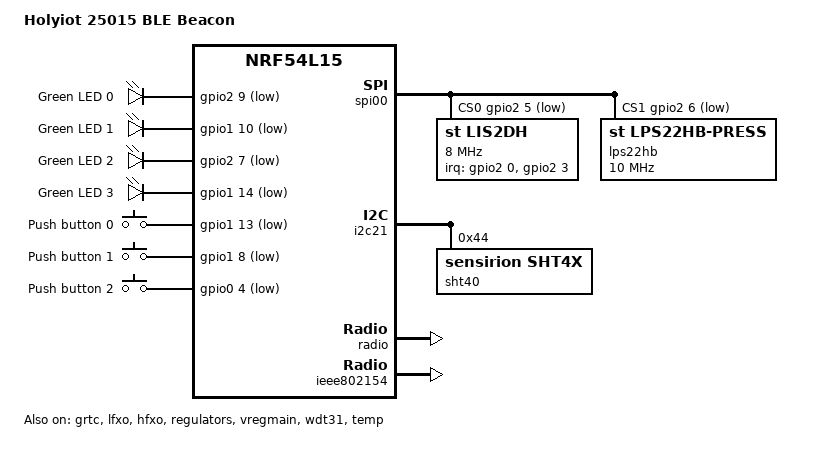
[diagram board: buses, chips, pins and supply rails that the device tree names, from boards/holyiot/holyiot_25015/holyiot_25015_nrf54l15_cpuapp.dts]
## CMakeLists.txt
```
#
# Copyright (c) 2021 Nordic Semiconductor ASA
#
# SPDX-License-Identifier: LicenseRef-Nordic-5-Clause
#

cmake_minimum_required(VERSION 3.20.0)

find_package(Zephyr HINTS $ENV{ZEPHYR_BASE})

project(micro_matter_button)

# Enable GNU STD support.
include(${ZEPHYR_CONNECTEDHOMEIP_MODULE_DIR}/config/nrfconnect/app/enable-gnu-std.cmake)

# NORDIC SDK APP START

# Include all source files that are located in the Matter common directory.
include(${ZEPHYR_NRF_MODULE_DIR}/samples/matter/common/cmake/source_common.cmake)

# Include Data Model utils
include(${ZEPHYR_NRF_MODULE_DIR}/samples/matter/common/cmake/data_model.cmake)

include(${ZEPHYR_NRF_MODULE_DIR}/samples/matter/common/cmake/zap_helpers.cmake)
ncs_get_zap_parent_dir(ZAP_PARENT_DIR)

target_include_directories(app PRIVATE
  src
  ${ZAP_PARENT_DIR}
)

target_compile_options(app PRIVATE -Wno-deprecated-declarations)

target_sources(app PRIVATE
  src/app_task.cpp
  src/light_switch.cpp
  src/main.cpp
  src/shell_commands.cpp
  ${ZEPHYR_NRF_MODULE_DIR}/samples/matter/common/src/binding/binding_handler.cpp
)

ncs_configure_data_model()
# NORDIC SDK APP END
```

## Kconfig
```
#
# Copyright (c) 2022 Nordic Semiconductor
#
# SPDX-License-Identifier: LicenseRef-Nordic-5-Clause
#
mainmenu "Matter nRF Connect Light Switch Example Application"

config STATE_LEDS
	bool "Use LEDs to indicate the device state"
	default y
	help
	  Use LEDs to render the current state of the device such as the progress of commissioning of
	  the device into a network or the factory reset initiation. Note that setting this option to
	  'n' does not disable the LED indicating the state of the simulated bolt.

# Sample configuration used for Thread networking
if OPENTHREAD

choice OPENTHREAD_NORDIC_LIBRARY_CONFIGURATION
	default OPENTHREAD_NORDIC_LIBRARY_MTD
endchoice

choice OPENTHREAD_DEVICE_TYPE
	default OPENTHREAD_MTD
endchoice

config CHIP_ENABLE_ICD_SUPPORT
	default y

# Reduce Thread TX output power to 0 dBm for SED device
config OPENTHREAD_DEFAULT_TX_POWER
	default 0

endif # OPENTHREAD

if BOARD_NRF7002DK_NRF5340_CPUAPP || SHIELD_NRF7002EB2

config CHIP_WIFI
	default y
	select DEPRECATED if SOC_SERIES_NRF53X

config NRF_WIFI_LOW_POWER
	default y

endif # BOARD_NRF7002DK_NRF5340_CPUAPP || SHIELD_NRF7002EB2

# Enable Read Client functionality for all build configurations.
config CHIP_ENABLE_READ_CLIENT
	default y

choice MATTER_BUTTON_OPERATING_MODE
	prompt "Device operating mode"
	default MATTER_BUTTON_MODE_1

config MATTER_BUTTON_MODE_1
	bool "Dimmable switch (short-press toggle, double-tap accel dimming, long-press brightness cycle)"

config MATTER_BUTTON_MODE_2
	bool "Generic switch (short-press and long-press events on endpoint 2)"

endchoice

source "$(ZEPHYR_CONNECTEDHOMEIP_MODULE_DIR)/config/nrfconnect/chip-module/Kconfig.features"
source "$(ZEPHYR_CONNECTEDHOMEIP_MODULE_DIR)/config/nrfconnect/chip-module/Kconfig.defaults"
source "$(ZEPHYR_NRF_MODULE_DIR)/samples/matter/common/src/Kconfig"
source "Kconfig.zephyr"
```

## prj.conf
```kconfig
#
# Copyright (c) 2021 Nordic Semiconductor ASA
#
# SPDX-License-Identifier: LicenseRef-Nordic-5-Clause
#

# Enable CHIP
CONFIG_CHIP=y
CONFIG_CHIP_PROJECT_CONFIG="src/chip_project_config.h"
CONFIG_CHIP_DEVICE_PRODUCT_NAME="Matter Light Switch"

# Configure ZAP file name
CONFIG_NCS_SAMPLE_MATTER_ZAP_FILE_PATH="${APPLICATION_CONFIG_DIR}/src/default_zap/light_switch.zap"

# 32772 == 0x8004 (example light-switch-app)
CONFIG_CHIP_DEVICE_PRODUCT_ID=32772
CONFIG_STD_CPP17=y

# Enable Matter pairing automatically on application start.
CONFIG_CHIP_ENABLE_PAIRING_AUTOSTART=y

# Enable Matter extended announcement and increase duration to 1 hour.
CONFIG_CHIP_BLE_EXT_ADVERTISING=y
CONFIG_CHIP_BLE_ADVERTISING_DURATION=60

# Add support for LEDs and buttons on Nordic development kits
CONFIG_DK_LIBRARY=y

# Try to disable unused RAM blocks to reduce power consumption
CONFIG_RAM_POWER_DOWN_LIBRARY=y

# Bluetooth Low Energy configuration
CONFIG_BT_DEVICE_NAME="MatterSwitch"

# Suspend devices when the CPU goes into sleep
CONFIG_PM_DEVICE=y

# Enable system reset on fatal error
CONFIG_RESET_ON_FATAL_ERROR=y

# Disable all debug features
CONFIG_USE_SEGGER_RTT=n
CONFIG_SHELL=n
CONFIG_OPENTHREAD_SHELL=n
CONFIG_CONSOLE=n
CONFIG_UART_CONSOLE=n
CONFIG_SERIAL=n
CONFIG_LOG=n
CONFIG_LOG_MODE_MINIMAL=n
CONFIG_ASSERT_VERBOSE=n
CONFIG_ASSERT_NO_FILE_INFO=y
CONFIG_PRINTK=n
CONFIG_PRINTK_SYNC=n
CONFIG_THREAD_NAME=n
CONFIG_BOOT_BANNER=n

# Enable Factory Data feature
CONFIG_CHIP_FACTORY_DATA=y
CONFIG_CHIP_FACTORY_DATA_BUILD=y

# Enable Watchdog
CONFIG_NCS_SAMPLE_MATTER_WATCHDOG=y

# Enable LTO to decrease the flash usage.
CONFIG_LTO=y
CONFIG_ISR_TABLES_LOCAL_DECLARATION=y

# Enable Factory Data feature
CONFIG_CHIP_FACTORY_DATA=n
CONFIG_CHIP_FACTORY_DATA_BUILD=n

CONFIG_CHIP_OTA_REQUESTOR=n
CONFIG_BOOTLOADER_MCUBOOT=n
CONFIG_CHIP_BOOTLOADER_MCUBOOT=n
CONFIG_CHIP_BOOTLOADER_NONE=y

CONFIG_CHIP_NFC_ONBOARDING_PAYLOAD=n


# Persistent Subscriptions
CONFIG_CHIP_PERSISTENT_SUBSCRIPTIONS=y

# Switch off LEDS
CONFIG_NCS_SAMPLE_MATTER_LEDS=n

# Configure Power Management
CONFIG_PM_DEVICE=y
CONFIG_RAM_POWER_DOWN_LIBRARY=y
CONFIG_POWEROFF=y

# Settings for ICD with LIT
CONFIG_OPENTHREAD_MTD=y
CONFIG_OPENTHREAD_NORDIC_LIBRARY_MTD=y

CONFIG_CHIP_ENABLE_ICD_SUPPORT=y
CONFIG_CHIP_ICD_LIT_SUPPORT=y

CONFIG_CHIP_ICD_IDLE_MODE_DURATION=900
CONFIG_CHIP_ICD_SLOW_POLL_INTERVAL=300000
CONFIG_CHIP_ICD_ACTIVE_MODE_DURATION=500
CONFIG_CHIP_ICD_ACTIVE_MODE_THRESHOLD=10000
CONFIG_CHIP_ICD_FAST_POLLING_INTERVAL=1000

CONFIG_CHIP_ICD_CLIENTS_PER_FABRIC=2

CONFIG_SPI=y
CONFIG_SENSOR=y
CONFIG_LIS2DH=y
CONFIG_LIS2DH_TRIGGER_GLOBAL_THREAD=y
```

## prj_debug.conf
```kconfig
#
# Copyright (c) 2021 Nordic Semiconductor ASA
#
# SPDX-License-Identifier: LicenseRef-Nordic-5-Clause
#

# Enable CHIP
CONFIG_CHIP=y
CONFIG_CHIP_PROJECT_CONFIG="src/chip_project_config.h"
CONFIG_CHIP_DEVICE_PRODUCT_NAME="Matter Light Switch"

# Configure ZAP file name
CONFIG_NCS_SAMPLE_MATTER_ZAP_FILE_PATH="${APPLICATION_CONFIG_DIR}/src/default_zap/light_switch.zap"

# 32772 == 0x8004 (example light-switch-app)
CONFIG_CHIP_DEVICE_PRODUCT_ID=32772
CONFIG_STD_CPP17=y

# Enable Matter pairing automatically on application start.
CONFIG_CHIP_ENABLE_PAIRING_AUTOSTART=y

# Enable Matter extended announcement and increase duration to 1 hour.
CONFIG_CHIP_BLE_EXT_ADVERTISING=y
CONFIG_CHIP_BLE_ADVERTISING_DURATION=60

# Add support for LEDs and buttons on Nordic development kits
CONFIG_DK_LIBRARY=y

# Bluetooth Low Energy configuration
CONFIG_BT_DEVICE_NAME="MatterSwitch"

# Suspend devices when the CPU goes into sleep
CONFIG_PM_DEVICE=y

# Other settings
CONFIG_THREAD_NAME=y
CONFIG_MPU_STACK_GUARD=y
CONFIG_RESET_ON_FATAL_ERROR=n
CONFIG_CHIP_LIB_SHELL=y
CONFIG_NCS_SAMPLE_MATTER_TEST_SHELL=y

# Reduce application size
CONFIG_USE_SEGGER_RTT=n

# Enable Factory Data feature
CONFIG_CHIP_FACTORY_DATA=n
CONFIG_CHIP_FACTORY_DATA_BUILD=n

CONFIG_CHIP_OTA_REQUESTOR=n
CONFIG_BOOTLOADER_MCUBOOT=n
CONFIG_CHIP_BOOTLOADER_MCUBOOT=n
CONFIG_CHIP_BOOTLOADER_NONE=y

CONFIG_CHIP_NFC_ONBOARDING_PAYLOAD=n

# Persistent Subscriptions
CONFIG_CHIP_PERSISTENT_SUBSCRIPTIONS=y

CONFIG_SPI=y
CONFIG_SENSOR=y
CONFIG_LIS2DH=y
CONFIG_LIS2DH_TRIGGER_GLOBAL_THREAD=y
```

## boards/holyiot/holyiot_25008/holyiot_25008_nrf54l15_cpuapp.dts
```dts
/dts-v1/;
#include <nordic/nrf54l15_cpuapp.dtsi>
#include "holyiot_25008-pinctrl.dtsi"

/ {
	model = "Holyiot 25008 BLE Beacon";
	compatible = "holyiot,holyiot-25008-cpuapp";

	chosen {
		zephyr,code-partition = &slot0_partition;
		zephyr,sram = &cpuapp_sram;
		zephyr,flash = &cpuapp_rram;
		zephyr,flash-controller = &rram_controller;
	};
};

&grtc {
	owned-channels = <0 1 2 3 4 5 6 7 8 9 10 11>;
	/* Channels 7-11 reserved for Zero Latency IRQs, 3-4 for FLPR */
	child-owned-channels = <3 4 7 8 9 10 11>;
	status = "okay";
};

&cpuapp_sram {
	status = "okay";
};

/ {
	leds {
		compatible = "gpio-leds";

		led0: led_0 {
			gpios = <&gpio2 9 GPIO_ACTIVE_LOW>;
			label = "Green LED 0";
		};

		led1: led_1 {
			gpios = <&gpio1 10 GPIO_ACTIVE_LOW>;
			label = "Green LED 1";
		};

		led2: led_2 {
			gpios = <&gpio2 7 GPIO_ACTIVE_LOW>;
			label = "Green LED 2";
		};

		led3: led_3 {
			gpios = <&gpio1 14 GPIO_ACTIVE_LOW>;
			label = "Green LED 3";
		};
	};

	buttons {
		compatible = "gpio-keys";

		button0: button_0 {
			gpios = <&gpio1 9 (GPIO_PULL_UP | GPIO_ACTIVE_LOW)>;
			label = "Push button 0";
			zephyr,code = <INPUT_KEY_0>;
		};

		button1: button_1 {
			gpios = <&gpio1 13 (GPIO_PULL_UP | GPIO_ACTIVE_LOW)>;
			label = "Push button 1";
			zephyr,code = <INPUT_KEY_1>;
		};

		button2: button_2 {
			gpios = <&gpio1 8 (GPIO_PULL_UP | GPIO_ACTIVE_LOW)>;
			label = "Push button 2";
			zephyr,code = <INPUT_KEY_2>;
		};

		button3: button_3 {
			gpios = <&gpio0 4 (GPIO_PULL_UP | GPIO_ACTIVE_LOW)>;
			label = "Push button 3";
			zephyr,code = <INPUT_KEY_3>;
		};
	};

	aliases {
		led0 = &led0;
		led1 = &led1;
		led2 = &led2;
		led3 = &led3;
		sw0 = &button0;
		sw1 = &button1;
		sw2 = &button2;
		sw3 = &button3;
		watchdog0 = &wdt31;
	};
};

/{
    aliases {
        accel0 = &lis2dh;
    };
};

&pinctrl {
	/omit-if-no-ref/ spi00_default: spi00_default {
		group1 {
			psels = <NRF_PSEL(SPIM_SCK, 2, 1)>,
				<NRF_PSEL(SPIM_MOSI, 2, 2)>,
				<NRF_PSEL(SPIM_MISO, 2, 4)>;
		};
	};

	/omit-if-no-ref/ spi00_sleep: spi00_sleep {
		group1 {
			psels = <NRF_PSEL(SPIM_SCK, 2, 1)>,
				<NRF_PSEL(SPIM_MOSI, 2, 2)>,
				<NRF_PSEL(SPIM_MISO, 2, 4)>;
			low-power-enable;
		};
	};
};

&spi00 {
	status = "okay";
	cs-gpios = <&gpio2 5 GPIO_ACTIVE_LOW>;
	pinctrl-0 = <&spi00_default>;
	pinctrl-1 = <&spi00_sleep>;
	pinctrl-names = "default", "sleep";

	lis2dh: lis2dh@0 {
		compatible = "st,lis2dh", "st,lis2dh12";
		reg = <0>;
		spi-max-frequency = <8000000>;
		irq-gpios = <&gpio2 0 GPIO_ACTIVE_HIGH>, <&gpio2 3 GPIO_ACTIVE_HIGH>;
		status = "okay";
	};
};

&cpuapp_sram {
	status = "okay";
};

&lfxo {
	load-capacitors = "internal";
	load-capacitance-femtofarad = <16000>;
	status = "okay";
};

&hfxo {
	load-capacitors = "internal";
	load-capacitance-femtofarad = <15000>;
	status = "okay";
};

&regulators {
	status = "okay";
};

&vregmain {
	status = "okay";
	regulator-initial-mode = <NRF5X_REG_MODE_DCDC>;
};

&gpio0 {
	status = "okay";
};

&gpio1 {
	status = "okay";
};

&gpio2 {
	status = "okay";
};

&gpiote20 {
	status = "okay";
};

&gpiote30 {
	status = "okay";
};

&wdt31 {
	status = "okay";
};

&radio {
	status = "okay";
};

&ieee802154 {
	status = "okay";
};

&temp {
	status = "okay";
};

&clock {
	status = "okay";
};

#include <nordic/nrf54l15_partition.dtsi>
```

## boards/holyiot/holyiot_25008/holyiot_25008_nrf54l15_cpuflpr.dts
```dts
/dts-v1/;
#include <nordic/nrf54l15_cpuflpr.dtsi>
#include "holyiot_25008-pinctrl.dtsi"

/ {
	model = "Holyiot 25008 BLE Beacon";
	compatible = "holyiot,holyiot-25008-cpuflpr";

	chosen {
		zephyr,code-partition = &cpuflpr_code_partition;
		zephyr,flash = &cpuflpr_rram;
		zephyr,sram = &cpuflpr_sram;
	};
};

&cpuflpr_sram {
	status = "okay";
	reg = <0x20028000 DT_SIZE_K(96)>;
	ranges = <0x0 0x20028000 DT_SIZE_K(96)>;
};

&cpuflpr_rram {
	partitions {
		compatible = "fixed-partitions";
		#address-cells = <1>;
		#size-cells = <1>;

		cpuflpr_code_partition: partition@0 {
			label = "image-0";
			reg = <0x0 DT_SIZE_K(96)>;
		};
	};
};

&grtc {
	owned-channels = <3 4>;
	status = "okay";
};
```

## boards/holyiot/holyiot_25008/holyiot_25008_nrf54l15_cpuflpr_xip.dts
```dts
#include "holyiot_25008_nrf54l15_cpuflpr.dts"

/ {
	compatible = "holyiot,holyiot-25008-cpuflpr-xip";
};

&cpuflpr_sram {
	reg = <0x2002f000 DT_SIZE_K(68)>;
	ranges = <0x0 0x2002f000 DT_SIZE_K(68)>;
};
```

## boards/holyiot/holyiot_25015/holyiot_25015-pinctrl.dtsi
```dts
&pinctrl {
	/omit-if-no-ref/ spi00_default: spi00_default {
		group1 {
			psels = <NRF_PSEL(SPIM_SCK, 2, 1)>,
				<NRF_PSEL(SPIM_MOSI, 2, 2)>,
				<NRF_PSEL(SPIM_MISO, 2, 4)>;
		};
	};

	/omit-if-no-ref/ spi00_sleep: spi00_sleep {
		group1 {
			psels = <NRF_PSEL(SPIM_SCK, 2, 1)>,
				<NRF_PSEL(SPIM_MOSI, 2, 2)>,
				<NRF_PSEL(SPIM_MISO, 2, 4)>;
			low-power-enable;
		};
	};

	/omit-if-no-ref/ i2c21_default: i2c21_default {
		group1 {
			psels = <NRF_PSEL(TWIM_SDA, 1, 11)>,
				<NRF_PSEL(TWIM_SCL, 1, 9)>;
		};
	};

	/omit-if-no-ref/ i2c21_sleep: i2c21_sleep {
		group1 {
			psels = <NRF_PSEL(TWIM_SDA, 1, 11)>,
				<NRF_PSEL(TWIM_SCL, 1, 9)>;
			low-power-enable;
		};
	};
};
```

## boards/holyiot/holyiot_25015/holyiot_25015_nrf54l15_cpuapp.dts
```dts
/dts-v1/;
#include <nordic/nrf54l15_cpuapp.dtsi>
#include "holyiot_25015-pinctrl.dtsi"

/ {
	model = "Holyiot 25015 BLE Beacon";
	compatible = "holyiot,holyiot-25015-cpuapp";

	chosen {
		zephyr,code-partition = &slot0_partition;
		zephyr,sram = &cpuapp_sram;
		zephyr,flash = &cpuapp_rram;
		zephyr,flash-controller = &rram_controller;
	};

	leds {
		compatible = "gpio-leds";

		led0: led_0 {
			gpios = <&gpio2 9 GPIO_ACTIVE_LOW>;
			label = "Green LED 0";
		};

		led1: led_1 {
			gpios = <&gpio1 10 GPIO_ACTIVE_LOW>;
			label = "Green LED 1";
		};

		led2: led_2 {
			gpios = <&gpio2 7 GPIO_ACTIVE_LOW>;
			label = "Green LED 2";
		};

		led3: led_3 {
			gpios = <&gpio1 14 GPIO_ACTIVE_LOW>;
			label = "Green LED 3";
		};
	};

	buttons {
		compatible = "gpio-keys";

		/* P1.09 is used for I2C21 SCL (SHT40), so the physical button
		 * moves to button0 here instead of appearing as button1 as on 25008 */
		button0: button_0 {
			gpios = <&gpio1 13 (GPIO_PULL_UP | GPIO_ACTIVE_LOW)>;
			label = "Push button 0";
			zephyr,code = <INPUT_KEY_0>;
		};

		button1: button_1 {
			gpios = <&gpio1 8 (GPIO_PULL_UP | GPIO_ACTIVE_LOW)>;
			label = "Push button 1";
			zephyr,code = <INPUT_KEY_1>;
		};

		button2: button_2 {
			gpios = <&gpio0 4 (GPIO_PULL_UP | GPIO_ACTIVE_LOW)>;
			label = "Push button 2";
			zephyr,code = <INPUT_KEY_2>;
		};
	};

	aliases {
		led0 = &led0;
		led1 = &led1;
		led2 = &led2;
		led3 = &led3;
		sw0 = &button0;
		sw1 = &button1;
		sw2 = &button2;
		watchdog0 = &wdt31;
		accel0 = &lis2dh;
		env0 = &sht40;
	};
};

&grtc {
	owned-channels = <0 1 2 3 4 5 6 7 8 9 10 11>;
	/* Channels 7-11 reserved for Zero Latency IRQs, 3-4 for FLPR */
	child-owned-channels = <3 4 7 8 9 10 11>;
	status = "okay";
};

&cpuapp_sram {
	status = "okay";
};

&pinctrl {
	/* pinctrl nodes defined in holyiot_25015-pinctrl.dtsi */
};

&spi00 {
	status = "okay";
	cs-gpios = <&gpio2 5 GPIO_ACTIVE_LOW>, <&gpio2 6 GPIO_ACTIVE_LOW>;
	pinctrl-0 = <&spi00_default>;
	pinctrl-1 = <&spi00_sleep>;
	pinctrl-names = "default", "sleep";

	lis2dh: lis2dh@0 {
		compatible = "st,lis2dh", "st,lis2dh12";
		reg = <0>;
		spi-max-frequency = <8000000>;
		irq-gpios = <&gpio2 0 GPIO_ACTIVE_HIGH>, <&gpio2 3 GPIO_ACTIVE_HIGH>;
		status = "okay";
	};

	/* LPS22HB pressure sensor on SPI (no Zephyr SPI driver — read via raw SPI in app) */
	lps22hb: lps22hb@1 {
		compatible = "st,lps22hb-press";
		reg = <1>;
		spi-max-frequency = <10000000>;
		status = "okay";
	};
};

&i2c21 {
	status = "okay";
	pinctrl-0 = <&i2c21_default>;
	pinctrl-1 = <&i2c21_sleep>;
	pinctrl-names = "default", "sleep";

	sht40: sht4x@44 {
		compatible = "sensirion,sht4x";
		reg = <0x44>;
		repeatability = <2>;
		status = "okay";
	};
};

&lfxo {
	load-capacitors = "internal";
	load-capacitance-femtofarad = <16000>;
	status = "okay";
};

&hfxo {
	load-capacitors = "internal";
	load-capacitance-femtofarad = <15000>;
	status = "okay";
};

&regulators {
	status = "okay";
};

&vregmain {
	status = "okay";
	regulator-initial-mode = <NRF5X_REG_MODE_DCDC>;
};

&gpio0 {
	status = "okay";
};

&gpio1 {
	status = "okay";
};

&gpio2 {
	status = "okay";
};

&gpiote20 {
	status = "okay";
};

&gpiote30 {
	status = "okay";
};

&wdt31 {
	status = "okay";
};

&radio {
	status = "okay";
};

&ieee802154 {
	status = "okay";
};

&temp {
	status = "okay";
};

&clock {
	status = "okay";
};

#include <nordic/nrf54l15_partition.dtsi>
```

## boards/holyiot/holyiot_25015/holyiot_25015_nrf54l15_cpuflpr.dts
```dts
/dts-v1/;
#include <nordic/nrf54l15_cpuflpr.dtsi>
#include "holyiot_25015-pinctrl.dtsi"

/ {
	model = "Holyiot 25015 BLE Beacon";
	compatible = "holyiot,holyiot-25015-cpuflpr";

	chosen {
		zephyr,code-partition = &cpuflpr_code_partition;
		zephyr,flash = &cpuflpr_rram;
		zephyr,sram = &cpuflpr_sram;
	};
};

&cpuflpr_sram {
	status = "okay";
	reg = <0x20028000 DT_SIZE_K(96)>;
	ranges = <0x0 0x20028000 DT_SIZE_K(96)>;
};

&cpuflpr_rram {
	partitions {
		compatible = "fixed-partitions";
		#address-cells = <1>;
		#size-cells = <1>;

		cpuflpr_code_partition: partition@0 {
			label = "image-0";
			reg = <0x0 DT_SIZE_K(96)>;
		};
	};
};

&grtc {
	owned-channels = <3 4>;
	status = "okay";
};
```

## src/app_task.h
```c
/*
 * Copyright (c) 2022 Nordic Semiconductor ASA
 *
 * SPDX-License-Identifier: LicenseRef-Nordic-5-Clause
 */

#pragma once

#include "board/board.h"

#include <platform/CHIPDeviceLayer.h>
#include <zephyr/drivers/sensor.h>

struct k_timer;
struct Identify;

class AppTask {
public:
	static AppTask &Instance()
	{
		static AppTask sAppTask;
		return sAppTask;
	};

	CHIP_ERROR StartApp();

	void UpdateClusterState();
	static void UpdateStatusLed();

private:
	enum Timer : uint8_t {
		/* Mode 1: accelerometer dimming */
		SingleTap,
		AccelPoll,
		AccelSleep,
		/* Mode 2: GPIO long-press dimming */
		DimmerTrigger,
		Dimmer,
		/* Mode 3: generic switch */
		LongPressDetect,
		/* All modes: factory reset */
		FactoryWarning,
		FactoryReset,
		/* All modes: commissioning LED */
		StatusLedBlink,
		/* 25015 only: environmental sensor poll */
		SensorPoll,
	};

	CHIP_ERROR Init();

	static void TimerEventHandler(const Timer &event);
	static void ButtonEventHandler(Nrf::ButtonState state, Nrf::ButtonMask hasChanged);

	static void AccelPollEventHandler();
	static void SensorUpdateEventHandler();

	static void StartTimer(Timer, uint32_t);
	static void CancelTimer(Timer);
	static void UserTimerTimeoutCallback(k_timer *timer);

	static void MatterEventHandler(const chip::DeviceLayer::ChipDeviceEvent *event, intptr_t arg);
};
```

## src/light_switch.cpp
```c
/*
 * Copyright (c) 2022 Nordic Semiconductor ASA
 *
 * SPDX-License-Identifier: LicenseRef-Nordic-5-Clause
 */

#include "light_switch.h"
#include "binding/binding_handler.h"

#ifdef CONFIG_CHIP_LIB_SHELL
#include "shell_commands.h"
#endif

#include <app/clusters/bindings/binding-table.h>
#include <app/server/Server.h>
#include <controller/InvokeInteraction.h>
#include <platform/CHIPDeviceLayer.h>
#include <zephyr/logging/log.h>

using namespace chip;
using namespace chip::app;
using namespace chip::app::Clusters;

namespace {
constexpr uint8_t kOnePercentBrightnessApproximation = 3;
constexpr uint8_t kMaximumBrightness = 254;
} // namespace

LOG_MODULE_DECLARE(app, CONFIG_CHIP_APP_LOG_LEVEL);

void LightSwitch::Init(chip::EndpointId lightSwitchEndpoint)
{
	Nrf::Matter::BindingHandler::Init();
#ifdef CONFIG_CHIP_LIB_SHELL
	SwitchCommands::RegisterSwitchCommands();
#endif
	mLightSwitchEndpoint = lightSwitchEndpoint;
}

void LightSwitch::InitiateActionSwitch(Action action)
{
	Nrf::Matter::BindingHandler::BindingData *data = Platform::New<Nrf::Matter::BindingHandler::BindingData>();
	if (data) {
		data->EndpointId = mLightSwitchEndpoint;
		data->ClusterId = Clusters::OnOff::Id;
		data->InvokeCommandFunc = SwitchChangedHandler;
		switch (action) {
		case Action::Toggle:
			data->CommandId = Clusters::OnOff::Commands::Toggle::Id;
			break;
		case Action::On:
			data->CommandId = Clusters::OnOff::Commands::On::Id;
			break;
		case Action::Off:
			data->CommandId = Clusters::OnOff::Commands::Off::Id;
			break;
		default:
			Platform::Delete(data);
			return;
		}
		Nrf::Matter::BindingHandler::RunBoundClusterAction(data);
	}
}

// UPDATED: Simply passes the requested level to the Thread network
void LightSwitch::SetBrightnessLevel(uint8_t targetLevel)
{
	Nrf::Matter::BindingHandler::BindingData *data = Platform::New<Nrf::Matter::BindingHandler::BindingData>();
	if (data) {
		data->EndpointId = mLightSwitchEndpoint;
		data->CommandId = Clusters::LevelControl::Commands::MoveToLevelWithOnOff::Id;
		data->ClusterId = Clusters::LevelControl::Id;
		data->InvokeCommandFunc = SwitchChangedHandler;
		
		data->Value = targetLevel;
		
		Nrf::Matter::BindingHandler::RunBoundClusterAction(data);
	}
}

void LightSwitch::DimmerChangeBrightness()
{
	static uint16_t sBrightness = 0;
	Nrf::Matter::BindingHandler::BindingData *data = Platform::New<Nrf::Matter::BindingHandler::BindingData>();
	if (data) {
		data->EndpointId = mLightSwitchEndpoint;
		data->CommandId = Clusters::LevelControl::Commands::MoveToLevel::Id;
		data->ClusterId = Clusters::LevelControl::Id;
		data->InvokeCommandFunc = SwitchChangedHandler;
		sBrightness += kOnePercentBrightnessApproximation;
		if (sBrightness > kMaximumBrightness) {
			sBrightness = 0;
		}
		data->Value = (uint8_t)sBrightness;
		Nrf::Matter::BindingHandler::RunBoundClusterAction(data);
	}
}

void LightSwitch::SwitchChangedHandler(const Binding::TableEntry &binding, OperationalDeviceProxy *deviceProxy,
				       Nrf::Matter::BindingHandler::BindingData &bindingData)
{
	if (binding.type == Binding::MATTER_MULTICAST_BINDING) {
		switch (bindingData.ClusterId) {
		case Clusters::OnOff::Id:
			OnOffProcessCommand(bindingData.CommandId, binding, nullptr, bindingData);
			break;
		case Clusters::LevelControl::Id:
			LevelControlProcessCommand(bindingData.CommandId, binding, nullptr, bindingData);
			break;
		default:
			ChipLogError(NotSpecified, "Invalid binding group command data");
			break;
		}
	} else if (binding.type == Binding::MATTER_UNICAST_BINDING) {
		switch (bindingData.ClusterId) {
		case Clusters::OnOff::Id:
			OnOffProcessCommand(bindingData.CommandId, binding, deviceProxy, bindingData);
			break;
		case Clusters::LevelControl::Id:
			LevelControlProcessCommand(bindingData.CommandId, binding, deviceProxy, bindingData);
			break;
		default:
			ChipLogError(NotSpecified, "Invalid binding unicast command data");
			break;
		}
	}
}

void LightSwitch::OnOffProcessCommand(CommandId commandId, const Binding::TableEntry &binding,
				      OperationalDeviceProxy *device,
				      Nrf::Matter::BindingHandler::BindingData &bindingData)
{
	CHIP_ERROR ret = CHIP_NO_ERROR;

	auto onSuccess = [dataPointer = Platform::New<Nrf::Matter::BindingHandler::BindingData>(bindingData)](
				 const ConcreteCommandPath &commandPath, const StatusIB &status,
				 const auto &dataResponse) {
		Nrf::Matter::BindingHandler::OnInvokeCommandSucces(dataPointer);
	};

	auto onFailure = [dataPointer = Platform::New<Nrf::Matter::BindingHandler::BindingData>(bindingData)](
				 CHIP_ERROR aError) mutable {
		Nrf::Matter::BindingHandler::OnInvokeCommandFailure(dataPointer, aError);
	};

	if (device) {
		VerifyOrDie(device->ConnectionReady());
	}

	switch (commandId) {
	case Clusters::OnOff::Commands::Toggle::Id:
		Clusters::OnOff::Commands::Toggle::Type toggleCommand;
		if (device) {
			ret = Controller::InvokeCommandRequest(device->GetExchangeManager(),
							       device->GetSecureSession().Value(), binding.remote,
							       toggleCommand, onSuccess, onFailure);
		} else {
			Messaging::ExchangeManager &exchangeMgr = Server::GetInstance().GetExchangeManager();
			ret = Controller::InvokeGroupCommandRequest(&exchangeMgr, binding.fabricIndex, binding.groupId,
								    toggleCommand);
		}
		break;

	case Clusters::OnOff::Commands::On::Id:
		Clusters::OnOff::Commands::On::Type onCommand;
		if (device) {
			ret = Controller::InvokeCommandRequest(device->GetExchangeManager(),
							       device->GetSecureSession().Value(), binding.remote,
							       onCommand, onSuccess, onFailure);
		} else {
			Messaging::ExchangeManager &exchangeMgr = Server::GetInstance().GetExchangeManager();
			ret = Controller::InvokeGroupCommandRequest(&exchangeMgr, binding.fabricIndex, binding.groupId,
								    onCommand);
		}
		break;

	case Clusters::OnOff::Commands::Off::Id:
		Clusters::OnOff::Commands::Off::Type offCommand;
		if (device) {
			ret = Controller::InvokeCommandRequest(device->GetExchangeManager(),
							       device->GetSecureSession().Value(), binding.remote,
							       offCommand, onSuccess, onFailure);
		} else {
			Messaging::ExchangeManager &exchangeMgr = Server::GetInstance().GetExchangeManager();
			ret = Controller::InvokeGroupCommandRequest(&exchangeMgr, binding.fabricIndex, binding.groupId,
								    offCommand);
		}
		break;
	default:
		LOG_DBG("Invalid binding command data - commandId is not supported");
		break;
	}
	if (CHIP_NO_ERROR != ret) {
		LOG_ERR("Invoke OnOff Command Request ERROR: %s", ErrorStr(ret));
	}
}

void LightSwitch::LevelControlProcessCommand(CommandId commandId, const Binding::TableEntry &binding,
					     OperationalDeviceProxy *device,
					     Nrf::Matter::BindingHandler::BindingData &bindingData)
{
	auto onSuccess = [dataPointer = Platform::New<Nrf::Matter::BindingHandler::BindingData>(bindingData)](
				 const ConcreteCommandPath &commandPath, const StatusIB &status,
				 const auto &dataResponse) {
		Nrf::Matter::BindingHandler::OnInvokeCommandSucces(dataPointer);
	};

	auto onFailure = [dataPointer = Platform::New<Nrf::Matter::BindingHandler::BindingData>(bindingData)](
				 CHIP_ERROR aError) mutable {
		Nrf::Matter::BindingHandler::OnInvokeCommandFailure(dataPointer, aError);
	};

	CHIP_ERROR ret = CHIP_NO_ERROR;

	if (device) {
		VerifyOrDie(device->ConnectionReady());
	}

	switch (commandId) {
	case Clusters::LevelControl::Commands::MoveToLevelWithOnOff::Id: {
		Clusters::LevelControl::Commands::MoveToLevelWithOnOff::Type moveToLevelCommand;
		
		moveToLevelCommand.level = bindingData.Value;
		
        // THE FIX: Change 0 to 4 (400 milliseconds) for a smooth premium fade
		moveToLevelCommand.transitionTime.SetNonNull(4); 

		if (device) {
			ret = Controller::InvokeCommandRequest(device->GetExchangeManager(),
							       device->GetSecureSession().Value(), binding.remote,
							       moveToLevelCommand, onSuccess, onFailure);
		} else {
			Messaging::ExchangeManager &exchangeMgr = Server::GetInstance().GetExchangeManager();
			ret = Controller::InvokeGroupCommandRequest(&exchangeMgr, binding.fabricIndex, binding.groupId,
								    moveToLevelCommand);
		}
	} break;
	default:
		LOG_DBG("Invalid binding command data - commandId is not supported");
		break;
	}
	if (CHIP_NO_ERROR != ret) {
		LOG_ERR("Invoke Group Command Request ERROR: %s", ErrorStr(ret));
	}
}
```

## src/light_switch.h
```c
/*
 * Copyright (c) 2022 Nordic Semiconductor ASA
 *
 * SPDX-License-Identifier: LicenseRef-Nordic-5-Clause
 */

#pragma once
#include <app/util/basic-types.h>
#include <lib/core/CHIPError.h>

#include "binding/binding_handler.h"

#include <atomic>

class LightSwitch {
public:
	enum class Action : uint8_t {
		Toggle,
		On,
		Off 
	};

	void Init(chip::EndpointId lightSwitchEndpoint);
	void InitiateActionSwitch(Action action);
	void SetBrightnessLevel(uint8_t targetLevel);
	void DimmerChangeBrightness();
	
	chip::EndpointId GetLightSwitchEndpointId() { return mLightSwitchEndpoint; }
	static void SwitchChangedHandler(const chip::app::Clusters::Binding::TableEntry &binding,
					 chip::OperationalDeviceProxy *deviceProxy,
					 Nrf::Matter::BindingHandler::BindingData &bindingData);

	static LightSwitch &GetInstance()
	{
		static LightSwitch sLightSwitch;
		return sLightSwitch;
	}

private:
	static void OnOffProcessCommand(chip::CommandId commandId,
					const chip::app::Clusters::Binding::TableEntry &binding,
					chip::OperationalDeviceProxy *device,
					Nrf::Matter::BindingHandler::BindingData &bindingData);
	static void LevelControlProcessCommand(chip::CommandId commandId,
					       const chip::app::Clusters::Binding::TableEntry &binding,
					       chip::OperationalDeviceProxy *device,
					       Nrf::Matter::BindingHandler::BindingData &bindingData);

	chip::EndpointId mLightSwitchEndpoint;
};
```
